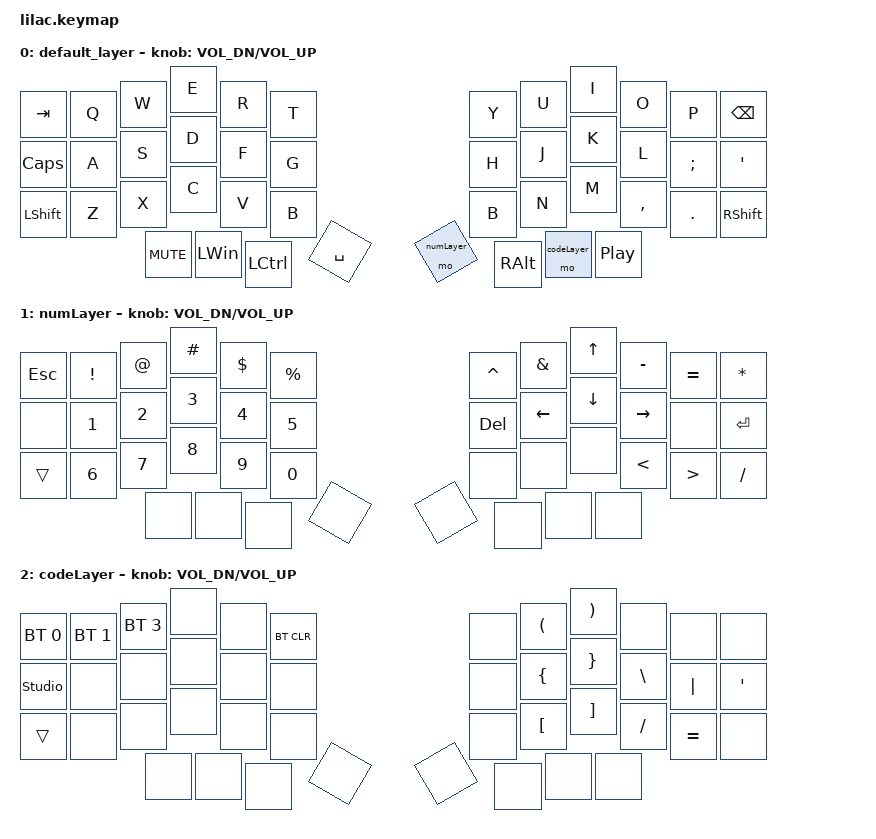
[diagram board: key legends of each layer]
/*
 * Copyright (c) 2020 The ZMK Contributors
 *
 * SPDX-License-Identifier: MIT
 */

#include <behaviors.dtsi>
#include <dt-bindings/zmk/keys.h>
#include <dt-bindings/zmk/bt.h>
#include <dt-bindings/zmk/ext_power.h>

#define default_layer 0
#define numLayer  1
#define codeLayer  2

/ {
        keymap {
                compatible = "zmk,keymap";

                default_layer {
// -----------------------------------------------------------------------------------------
// |  TAB |  Q  |  W  |  E  |  R  |  T  |   |  Y  |  U   |  I  |  O  |  P  | BSPC |
// | CAPS |  A  |  S  |  D  |  F  |  G  |   |  H  |  J   |  K  |  L  |  ;  | "    |
// | SHFT |  Z  |  X  |  C  |  V  |  B  |   |  B  |  N  |  M   |  ,  |  .  | SHIFT|
//              |MUTE | WIN | LCTRL|SPACE| |numLayer| RALT | codeLayer| Play pause|

                        bindings = <
   &kp TAB   &kp Q &kp W &kp E &kp R &kp T              &kp Y &kp U  &kp I &kp O  &kp P    &kp BSPC
   &kp CLCK &kp A &kp S &kp D &kp F &kp G               &kp H &kp J  &kp K  &kp L  &kp SEMI &kp SINGLE_QUOTE
   &kp LSHFT &kp Z &kp X &kp C &kp V &kp B              &kp B &kp N &kp M  &kp COMMA &kp DOT &kp RSHFT
   &kp C_MUTE  &kp LWIN &kp LCTRL &kp SPACE              &mo numLayer &kp RALT &mo codeLayer &kp C_PP
                        >;

                        sensor-bindings = <&inc_dec_kp C_VOL_DN C_VOL_UP>;
                };

                num_layer {
                        label = "numLayer";
// -----------------------------------------------------------------------------------------
// |  Esc |    ! |   @    |  #     |    $   |   %    |          |  ^    |   &   |   UP   |   -   |   +   |  *   |
// |     |   1   |   2    |    3   |     4  |   5    |          |   DEL |  LEFT |   DOWN | RIGHT |       | ENTER|
// |     |   6   |   7    |    8   |   9    |   0    |          |       |       |        |   <   |   >   |  ?   |
// |  X  |   X   |        |        |        |        |          |       |       |        |       |   X   |   X  |

                        bindings = <
&kp ESC   &kp EXCL   &kp AT   &kp HASH   &kp DLLR   &kp PRCNT           &kp CARET   &kp AMPS &kp UP   &kp MINUS   &kp EQUAL   &kp STAR  
&none   &kp N1   &kp N2   &kp N3   &kp N4   &kp N5               &kp DEL   &kp LEFT   &kp DOWN   &kp RIGHT   &none  &kp ENTER   
&trans   &kp N6   &kp N7   &kp N8   &kp N9   &kp N0               &none  &none   &none    &kp LESS_THAN  &kp GREATER_THAN &kp SLASH   
                &none   &none   &none   &none                   &none   &none   &none   &none   
                        >;

                        sensor-bindings = <&inc_dec_kp C_VOL_DN C_VOL_UP>;
                };

                code_layer {
                        label = "codeLayer";
// -----------------------------------------------------------------------------------------
// |BT1  |  BT2  |  BT3 |       |       |   BT Clr  |           |       |    (   |   )    |       |          |      |    
// |  studio  |       |       |       |       |       |         |       |    {   |   }    |   \   |   "|"    |   '  |
// |    |       |       |       |       |       |               |       |    [   |   ]    |   /   |          |      |
// |  X |   X   |       |       |       |       |               |       |        |        |       |  X       |  X   |
                        bindings = <
&bt BT_SEL 0   &bt BT_SEL 1   &bt BT_SEL 3   &none   &none    &bt BT_CLR        &none   &kp LPAR &kp RPAR   &none   &none   &none   
&studio_unlock   &none   &none   &none   &none   &none                          &none   &kp LBRC   &kp RBRC   &kp BSLH   &kp PIPE   &kp SQT   
 &trans   &none   &none   &none   &none   &none                                 &none   &kp LBKT &kp RBKT   &kp FSLH   &kp EQUAL   &none   
                  &none   &none   &none   &none                                 &none   &none   &none   &none   
                        >;

                        sensor-bindings = <&inc_dec_kp C_VOL_DN C_VOL_UP>;
                };
        };
};
